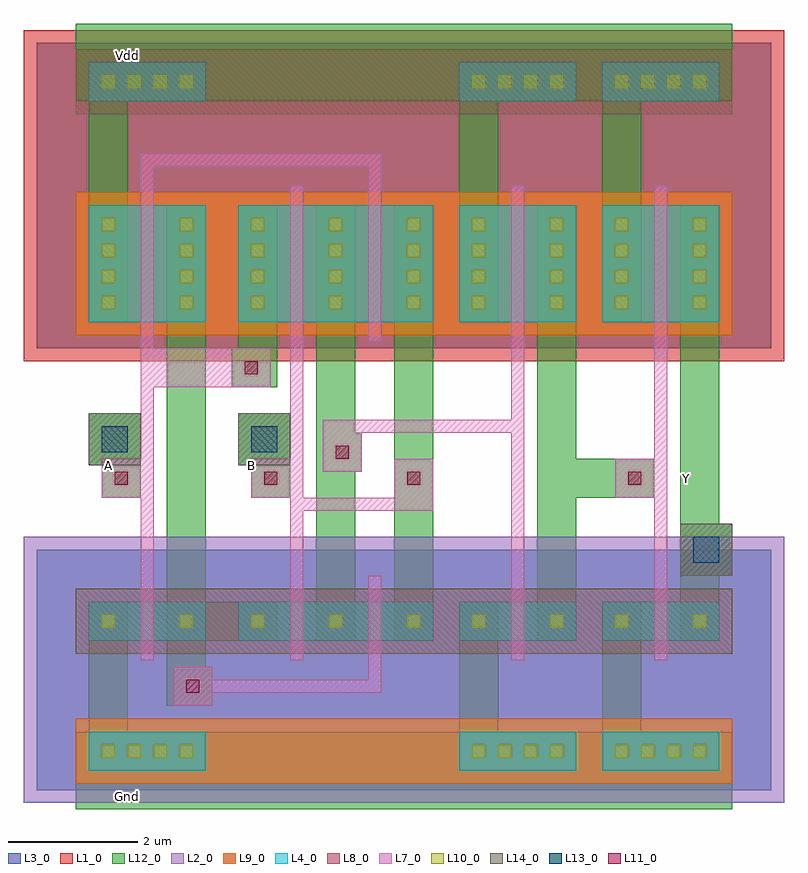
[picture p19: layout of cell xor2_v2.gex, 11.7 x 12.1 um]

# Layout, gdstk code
import gdstk
lib = gdstk.Library(unit=1e-6, precision=1e-09)
def R(c, l, rs):  # rectangles x0, y0, x1, y1
    for r in rs: c.add(gdstk.rectangle(r[:2], r[2:], *l))
def A(c, l, x, y, w, h, nx, ny, dx, dy):  # array of equal rectangles
    R(c, l, [(x+i*dx, y+j*dy, x+i*dx+w, y+j*dy+h) for i in range(nx) for j in range(ny)])
L1_0 = (1, 0)
L2_0 = (2, 0)
L3_0 = (3, 0)
L4_0 = (4, 0)
L7_0 = (7, 0)
L8_0 = (8, 0)
L9_0 = (9, 0)
L10_0 = (10, 0)
L11_0 = (11, 0)
L12_0 = (12, 0)
L13_0 = (13, 0)
L14_0 = (14, 0)

xor2_v2_gex = lib.new_cell('xor2_v2.gex')
R(xor2_v2_gex, L1_0, [(-0.9,6.9,5.9,12), (5.3,6.9,8.1,12), (7.5,6.9,10.8,12)])
R(xor2_v2_gex, L2_0, [(-0.9,0.1,5.9,4.2), (5.3,0.1,8.1,4.2), (7.5,0.1,10.8,4.2)])
R(xor2_v2_gex, L3_0, [(-0.7,0.3,5.7,4), (5.5,0.3,7.9,4), (7.7,0.3,10.6,4), (-0.7,7.1,5.7,11.8), (5.5,7.1,7.9,11.8), (7.7,7.1,10.6,11.8)])
R(xor2_v2_gex, L4_0, [(0.1,0.6,1.9,1.2), (5.8,0.6,7.6,1.2), (8,0.6,9.8,1.2), (0.1,2.6,1.9,3.2), (2.4,2.6,5.4,3.2), (5.8,2.6,7.6,3.2), (8,2.6,9.8,3.2), (0.1,7.5,1.9,9.3), (2.4,7.5,5.4,9.3), (5.8,7.5,7.6,9.3), (8,7.5,9.8,9.3), (0.1,10.9,1.9,11.5), (5.8,10.9,7.6,11.5), (8,10.9,9.8,11.5)])
R(xor2_v2_gex, L7_0, [(1.4,1.6,2,2.2), (2,1.8,4.5,2), (4.4,1.8,4.6,2.4), (0.9,2.3,1.1,9.7), (3.2,2.3,3.4,9.6), (6.6,2.3,6.8,9.6), (8.8,2.3,9,9.6), (4.4,2.4,4.6,3.6), (3.4,4.6,5.4,4.8), (0.3,4.8,0.9,5.4), (2.6,4.8,3.2,5.4), (4.8,4.8,5.4,5.4), (8.2,4.8,8.8,5.4), (3.7,5.2,4.3,5.8), (3.7,5.8,6.7,6), (1.1,6.5,2.3,7.1), (2.3,6.5,2.9,7.1), (4.4,7.2,4.6,9.5), (4.4,9.5,4.6,9.9), (0.9,9.7,1.1,9.9), (0.9,9.9,4.6,10.1)])
R(xor2_v2_gex, L8_0, [(-0.1,2.4,5.6,3.4), (5.6,2.4,7.8,3.4), (7.8,2.4,10,3.4), (-0.1,10.7,5.6,11.7), (5.6,10.7,7.8,11.7), (7.8,10.7,10,11.7)])
R(xor2_v2_gex, L9_0, [(-0.1,0.4,5.6,1.4), (5.6,0.4,7.8,1.4), (7.8,0.4,10,1.4), (-0.1,7.3,5.6,9.5), (5.6,7.3,7.8,9.5), (7.8,7.3,10,9.5)])
A(xor2_v2_gex, L10_0, 0.3, 0.8, 0.2, 0.2, 4, 2, 0.4, 10.3)
A(xor2_v2_gex, L10_0, 6, 0.8, 0.2, 0.2, 4, 2, 0.4, 10.3)
A(xor2_v2_gex, L10_0, 8.2, 0.8, 0.2, 0.2, 4, 2, 0.4, 10.3)
A(xor2_v2_gex, L10_0, 2.6, 2.8, 0.2, 0.2, 3, 2, 1.2, 4.9)
A(xor2_v2_gex, L10_0, 0.3, 7.7, 0.2, 0.2, 1, 4, 0, 0.4)
A(xor2_v2_gex, L10_0, 1.5, 7.7, 0.2, 0.2, 1, 4, 0, 0.4)
A(xor2_v2_gex, L10_0, 6, 7.7, 0.2, 0.2, 1, 4, 0, 0.4)
A(xor2_v2_gex, L10_0, 7.2, 7.7, 0.2, 0.2, 1, 4, 0, 0.4)
A(xor2_v2_gex, L10_0, 8.2, 7.7, 0.2, 0.2, 1, 4, 0, 0.4)
A(xor2_v2_gex, L10_0, 9.4, 7.7, 0.2, 0.2, 1, 4, 0, 0.4)
A(xor2_v2_gex, L10_0, 2.6, 8.1, 0.2, 0.2, 3, 3, 1.2, 0.4)
R(xor2_v2_gex, L10_0, [(0.3,2.8,0.5,3), (1.5,2.8,1.7,3), (6,2.8,6.2,3), (7.2,2.8,7.4,3), (8.2,2.8,8.4,3), (9.4,2.8,9.6,3)])
R(xor2_v2_gex, L11_0, [(1.6,1.8,1.8,2), (0.5,5,0.7,5.2), (2.8,5,3,5.2), (5,5,5.2,5.2), (8.4,5,8.6,5.2), (3.9,5.4,4.1,5.6), (2.5,6.7,2.7,6.9)])
A(xor2_v2_gex, L12_0, 4.8, 2.6, 0.6, 6.7, 3, 1, 2.2, 0)
R(xor2_v2_gex, L12_0, [(-0.1,0,5.6,1.2), (5.6,0,7.8,1.2), (7.8,0,10,1.2), (0.1,1.2,0.7,3.2), (5.8,1.2,6.4,3.2), (8,1.2,8.6,3.2), (1.3,1.6,1.9,2.6), (1.4,1.6,2,2.2), (1.3,2.6,1.9,9.3), (1.9,2.6,3,3.2), (3.6,2.6,4.2,9.3), (9.2,3.6,10,4.4), (0.3,4.8,0.9,5.4), (2.6,4.8,3.2,5.4), (4.8,4.8,5.4,5.4), (7.6,4.8,8.2,5.4), (8.2,4.8,8.8,5.4), (3.7,5.2,4.3,5.8), (0.1,5.3,0.9,6.1), (2.4,5.3,3.2,6.1), (2.3,6.5,2.9,7.1), (2.4,6.5,3,9.3), (0.1,7.5,0.7,10.9), (5.8,7.5,6.4,10.9), (8,7.5,8.6,10.9), (-0.1,10.9,5.6,12.1), (5.6,10.9,7.8,12.1), (7.8,10.9,10,12.1)])
R(xor2_v2_gex, L13_0, [(9.4,3.8,9.8,4.2), (0.3,5.5,0.7,5.9), (2.6,5.5,3,5.9)])
R(xor2_v2_gex, L14_0, [(9.2,3.6,10,4.4), (0.1,5.3,0.9,6.1), (2.4,5.3,3.2,6.1)])
xor2_v2_gex.add(gdstk.Label('Vdd', (0.7,11.6), layer=12, texttype=0))
xor2_v2_gex.add(gdstk.Label('Gnd', (0.7,0.2), layer=12, texttype=0))
xor2_v2_gex.add(gdstk.Label('B', (2.6,5.3), layer=12, texttype=0))
xor2_v2_gex.add(gdstk.Label('Y', (9.3,5.1), layer=12, texttype=0))
xor2_v2_gex.add(gdstk.Label('A', (0.4,5.3), layer=12, texttype=0))

lib.write_gds('xor2_v2.gex.gds')
